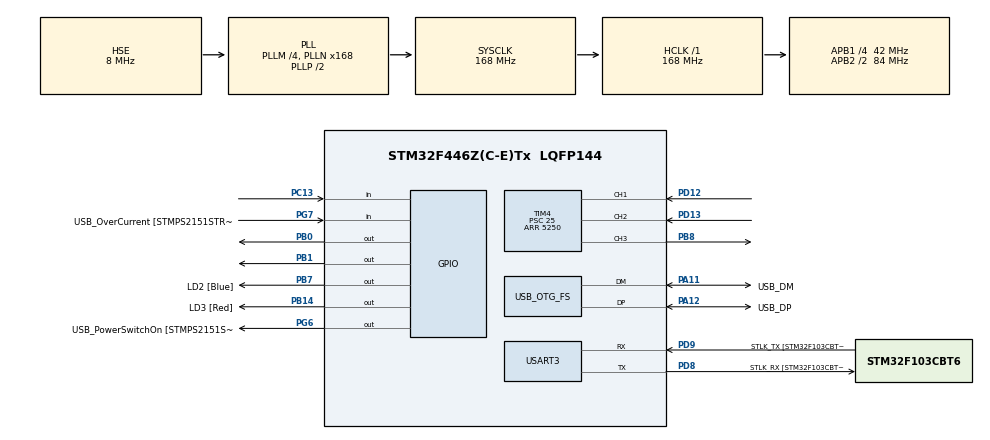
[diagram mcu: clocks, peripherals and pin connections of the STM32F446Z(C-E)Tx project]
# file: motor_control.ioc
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Mcu.Family=STM32F4
Mcu.Name=STM32F446Z(C-E)Tx
Mcu.Package=LQFP144
NVIC.PriorityGroup=NVIC_PRIORITYGROUP_4
PA11.GPIO_Label=USB_DM
PA11.Mode=Device_Only
PA11.Signal=USB_OTG_FS_DM
PA12.GPIO_Label=USB_DP
PA12.Mode=Device_Only
PA12.Signal=USB_OTG_FS_DP
PA13.GPIO_Label=TMS
PA13.Mode=Serial_Wire
PA13.Signal=SYS_JTMS-SWDIO
PA14.GPIO_Label=TCK
PA14.Mode=Serial_Wire
PA14.Signal=SYS_JTCK-SWCLK
PB0.Signal=GPIO_Output
PB1.Signal=GPIO_Output
PB14.GPIO_Label=LD3 [Red]
PB14.Signal=GPIO_Output
PB7.GPIO_Label=LD2 [Blue]
PB7.Signal=GPIO_Output
PB8.Signal=S_TIM4_CH3
PC13.GPIO_PuPd=GPIO_PULLUP
PC13.Signal=GPIO_Input
PC14-OSC32_IN.Mode=LSE-External-Oscillator
PC14-OSC32_IN.Signal=RCC_OSC32_IN
PC15-OSC32_OUT.Mode=LSE-External-Oscillator
PC15-OSC32_OUT.Signal=RCC_OSC32_OUT
PD12.Signal=S_TIM4_CH1
PD13.Signal=S_TIM4_CH2
PD8.GPIO_Label=STLK_RX [STM32F103CBT6_PA3]
PD8.Mode=Asynchronous
PD8.Signal=USART3_TX
PD9.GPIO_Label=STLK_TX [STM32F103CBT6_PA2]
PD9.Mode=Asynchronous
PD9.Signal=USART3_RX
PG6.GPIO_Label=USB_PowerSwitchOn [STMPS2151STR_EN]
PG6.Signal=GPIO_Output
PG7.GPIO_Label=USB_OverCurrent [STMPS2151STR_FAULT]
PG7.Signal=GPIO_Input
PH0-OSC_IN.GPIO_Label=MCO [STM32F103CBT6_PA8]
PH0-OSC_IN.Mode=HSE-External-Clock-Source
PH0-OSC_IN.Signal=RCC_OSC_IN
PH1-OSC_OUT.Mode=HSE-External-Clock-Source
PH1-OSC_OUT.Signal=RCC_OSC_OUT
ProjectManager.HeapSize=0x200
ProjectManager.StackSize=0x400
ProjectManager.TargetToolchain=STM32CubeIDE
RCC.48MHZClocksFreq_Value=24000000
RCC.AHBFreq_Value=168000000
RCC.APB1CLKDivider=RCC_HCLK_DIV4
RCC.APB1Freq_Value=42000000
RCC.APB1TimFreq_Value=84000000
RCC.APB2CLKDivider=RCC_HCLK_DIV2
RCC.APB2Freq_Value=84000000
RCC.APB2TimFreq_Value=168000000
RCC.CortexFreq_Value=168000000
RCC.HCLKFreq_Value=168000000
RCC.HSE_VALUE=8000000
RCC.HSI_VALUE=16000000
RCC.PLLM=4
RCC.PLLMUL=RCC_PLL_MUL9
RCC.PLLN=168
RCC.PLLQ=7
RCC.PRESCALERUSB=RCC_USBCLKSOURCE_PLL_DIV1_5
RCC.SYSCLKFreq_VALUE=168000000
RCC.SYSCLKSource=RCC_SYSCLKSOURCE_PLLCLK
RCC.SYSCLKSourceVirtual=RCC_SYSCLKSOURCE_PLLCLK
RCC.USBFreq_Value=48000000
RCC.VCOOutputFreq_Value=336000000
SH.S_TIM4_CH1.0=TIM4_CH1,Encoder_Interface
SH.S_TIM4_CH2.0=TIM4_CH2,Encoder_Interface
SH.S_TIM4_CH3.0=TIM4_CH3,PWM Generation3 CH3
TIM4.Channel-PWM\ Generation3\ CH3=TIM_CHANNEL_3
TIM4.Period=5250
TIM4.Prescaler=25
USART3.VirtualMode=VM_ASYNC
USB_OTG_FS.VirtualMode=Device_Only
board=NUCLEO-F446ZE

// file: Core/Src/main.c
/* USER CODE BEGIN Header */
/**
  ******************************************************************************
  * @file           : main.c
  * @brief          : Main program body
  ******************************************************************************
  * @attention
  *
  * Copyright (c) 2024 STMicroelectronics.
  * All rights reserved.
  *
  * This software is licensed under terms that can be found in the LICENSE file
  * in the root directory of this software component.
  * If no LICENSE file comes with this software, it is provided AS-IS.
  *
  ******************************************************************************
  */
/* USER CODE END Header */
#include "main.h"
#include "tim.h"
#include "usart.h"
#include "usb_otg.h"
#include "gpio.h"

/* USER CODE BEGIN PD */
#define FULL_CYCLE_COUNTS 4096  // Example encoder counts for a full cycle (depends on your encoder resolution)
#define QUARTER_CYCLE_COUNTS (FULL_CYCLE_COUNTS / 4)
#define HALF_CYCLE_COUNTS (FULL_CYCLE_COUNTS / 2)

/* USER CODE END PD */

/* USER CODE BEGIN PM */
int current_position;
int target_position;

/* USER CODE END PM */

void SystemClock_Config(void);

/* USER CODE BEGIN 0 */
void RunMotorControlSequence()
{
    current_position = GetEncoderPosition();
    target_position;

    // Step 1: Move quarter cycle clockwise
    target_position = current_position + QUARTER_CYCLE_COUNTS;
    MoveToPosition(target_position);

    // Step 2: Move half cycle counterclockwise
    target_position = target_position - HALF_CYCLE_COUNTS;
    MoveToPosition(target_position);

    // Step 3: Move quarter cycle clockwise back to starting point
    target_position = target_position + QUARTER_CYCLE_COUNTS;
    MoveToPosition(target_position);
}

void MoveToPosition(int target_position)
{
    int current_position = GetEncoderPosition();

    // Determine the direction based on the target position
    if (current_position < target_position)
    {
        SetMotorDirection(1);  // Move forward (clockwise)
        SetMotorSpeed(32000);  // Set moderate speed
    }
    else if (current_position > target_position)
    {
        SetMotorDirection(-1);  // Move backward (counterclockwise)
        SetMotorSpeed(32000);   // Set moderate speed
    }

    // Keep moving until the target position is reached
    while (current_position != target_position)
    {
        current_position = GetEncoderPosition();
    }

    // Stop the motor once the position is reached
    SetMotorSpeed(0);
}

void MoveToMotor()
{
	 SetMotorDirection(1);  // Move forward (clockwise)
	 SetMotorSpeed(32000);  // Set moderate speed
}

// Function to read encoder position
int GetEncoderPosition()
{
    // Return the current encoder position from TIM4 counter
    return __HAL_TIM_GET_CONTER(&htim4);
}

// Function to set motor speed using PWM (TIM4 Channel 3 on PB8)
void SetMotorSpeed(uint16_t speed)
{
    // Adjust PWM duty cycle for TIM4 Channel 3 (PB8)
    // Speed should be between 0 (stopped) and 65535 (full speed)
    __HAL_TIM_SET_COMPARE(&htim4, TIM_CHANNEL_3, speed);
}

// Function to set motor direction using GPIOs PA9 and PA10
void SetMotorDirection(int direction)
{
    if (direction == 1)
    {
        // Move forward (set DIR1 high and DIR2 low)
        HAL_GPIO_WritePin(GPIOB, GPIO_PIN_0, GPIO_PIN_SET);   // DIR1 high
        //HAL_GPIO_WritePin(GPIOB, GPIO_PIN_1, GPIO_PIN_RESET); // DIR2 low
    }
    else if (direction == -1)
    {
        // Move backward (set DIR1 low and DIR2 high)
        HAL_GPIO_WritePin(GPIOB, GPIO_PIN_0, GPIO_PIN_RESET); // DIR1 low
        //HAL_GPIO_WritePin(GPIOB, GPIO_PIN_1, GPIO_PIN_SET);   // DIR2 high
    }
}
/* USER CODE END 0 */

int main(void)
{

  /* MCU Configuration--------------------------------------------------------*/

  /* Reset of all peripherals, Initializes the Flash interface and the Systick. */
  HAL_Init();

  /* Configure the system clock */
  SystemClock_Config();

  /* Initialize all configured peripherals */
  MX_GPIO_Init();
  MX_USART3_UART_Init();
  MX_USB_OTG_FS_PCD_Init();
  MX_TIM4_Init();
  /* USER CODE BEGIN 2 */
  // Start TIM4 in Encoder Mode
  HAL_TIM_Encoder_Start(&htim4, TIM_CHANNEL_ALL);

  // Start PWM generation on TIM4 Channel 3 (PB8)
  HAL_TIM_PWM_Start(&htim4, TIM_CHANNEL_3);

  /* USER CODE END 2 */

  /* Infinite loop */
  /* USER CODE BEGIN WHILE */
  while (1)
  {
	  // Monitor the button press (PC13)
	  //if (HAL_GPIO_ReadPin(GPIOC, GPIO_PIN_13) == GPIO_PIN_RESET)  // Button pressed (active low)
	  //{
	  	  // Trigger motor control sequence
		  //RunMotorControlSequence();
	  //}

	  //RunMotorControlSequence();
	  MoveToMotor();

	  HAL_Delay(100);  // Small delay to debounce the button
    /* USER CODE END WHILE */

  }
}

void SystemClock_Config(void)
{
  RCC_OscInitTypeDef RCC_OscInitStruct = {0};
  RCC_ClkInitTypeDef RCC_ClkInitStruct = {0};

  /** Configure the main internal regulator output voltage
  */
  __HAL_RCC_PWR_CLK_ENABLE();
  __HAL_PWR_VOLTAGESCALING_CONFIG(PWR_REGULATOR_VOLTAGE_SCALE1);

  /** Initializes the RCC Oscillators according to the specified parameters
  * in the RCC_OscInitTypeDef structure.
  */
  RCC_OscInitStruct.OscillatorType = RCC_OSCILLATORTYPE_HSE;
  RCC_OscInitStruct.HSEState = RCC_HSE_BYPASS;
  RCC_OscInitStruct.PLL.PLLState = RCC_PLL_ON;
  RCC_OscInitStruct.PLL.PLLSource = RCC_PLLSOURCE_HSE;
  RCC_OscInitStruct.PLL.PLLM = 4;
  RCC_OscInitStruct.PLL.PLLN = 168;
  RCC_OscInitStruct.PLL.PLLP = RCC_PLLP_DIV2;
  RCC_OscInitStruct.PLL.PLLQ = 7;
  RCC_OscInitStruct.PLL.PLLR = 2;
  if (HAL_RCC_OscConfig(&RCC_OscInitStruct) != HAL_OK)
  {
    Error_Handler();
  }

  /** Initializes the CPU, AHB and APB buses clocks
  */
  RCC_ClkInitStruct.ClockType = RCC_CLOCKTYPE_HCLK|RCC_CLOCKTYPE_SYSCLK
                              |RCC_CLOCKTYPE_PCLK1|RCC_CLOCKTYPE_PCLK2;
  RCC_ClkInitStruct.SYSCLKSource = RCC_SYSCLKSOURCE_PLLCLK;
  RCC_ClkInitStruct.AHBCLKDivider = RCC_SYSCLK_DIV1;
  RCC_ClkInitStruct.APB1CLKDivider = RCC_HCLK_DIV4;
  RCC_ClkInitStruct.APB2CLKDivider = RCC_HCLK_DIV2;

  if (HAL_RCC_ClockConfig(&RCC_ClkInitStruct, FLASH_LATENCY_5) != HAL_OK)
  {
    Error_Handler();
  }
}

void Error_Handler(void)
{
  __disable_irq();
  while (1)
  {
  }
}
